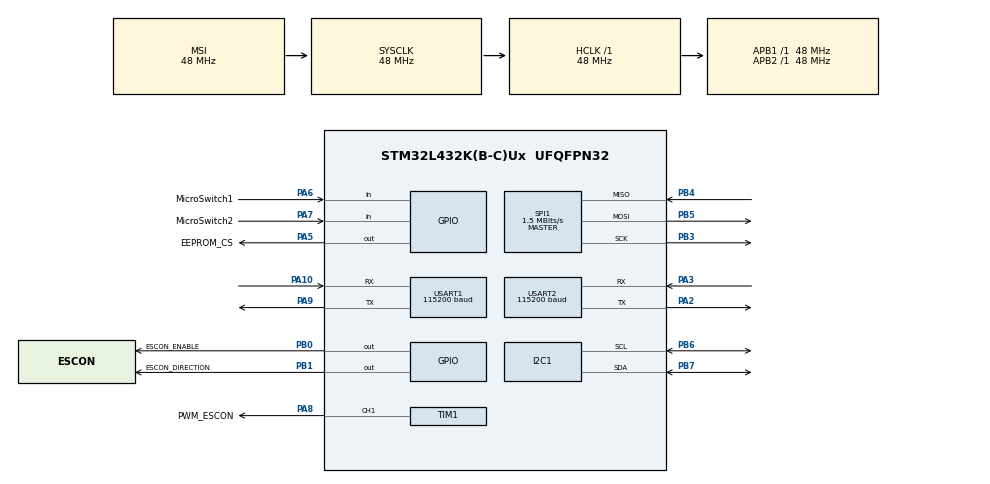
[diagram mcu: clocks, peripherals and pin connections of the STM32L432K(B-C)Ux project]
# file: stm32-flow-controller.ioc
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I2C1.Timing=0x10805D88
Mcu.Family=STM32L4
Mcu.Name=STM32L432K(B-C)Ux
Mcu.Package=UFQFPN32
NVIC.PriorityGroup=NVIC_PRIORITYGROUP_4
NVIC.TIM7_IRQn=true\:0\:0\:false\:false\:true\:true\:true\:true
NVIC.USART1_IRQn=true\:0\:0\:false\:false\:true\:true\:true\:true
NVIC.USART2_IRQn=true\:0\:0\:false\:false\:true\:true\:true\:true
PA10.Mode=Asynchronous
PA10.Signal=USART1_RX
PA2.Mode=Asynchronous
PA2.Signal=USART2_TX
PA3.Mode=Asynchronous
PA3.Signal=USART2_RX
PA5.GPIO_Label=EEPROM_CS
PA5.Signal=GPIO_Output
PA6.GPIO_Label=MicroSwitch1
PA6.GPIO_PuPd=GPIO_PULLDOWN
PA6.Signal=GPIO_Input
PA7.GPIO_Label=MicroSwitch2
PA7.GPIO_PuPd=GPIO_PULLDOWN
PA7.Signal=GPIO_Input
PA8.GPIO_Label=PWM_ESCON
PA8.Signal=S_TIM1_CH1
PA9.Mode=Asynchronous
PA9.Signal=USART1_TX
PB0.GPIO_Label=ESCON_ENABLE
PB0.Signal=GPIO_Output
PB1.GPIO_Label=ESCON_DIRECTION
PB1.Signal=GPIO_Output
PB3\ (JTDO-TRACESWO).Mode=Full_Duplex_Master
PB3\ (JTDO-TRACESWO).Signal=SPI1_SCK
PB4\ (NJTRST).Mode=Full_Duplex_Master
PB4\ (NJTRST).Signal=SPI1_MISO
PB5.Mode=Full_Duplex_Master
PB5.Signal=SPI1_MOSI
PB6.GPIO_Pu=GPIO_PULLUP
PB6.Mode=I2C
PB6.Signal=I2C1_SCL
PB7.GPIO_Pu=GPIO_PULLUP
PB7.Mode=I2C
PB7.Signal=I2C1_SDA
ProjectManager.HeapSize=0x200
ProjectManager.StackSize=0x400
ProjectManager.TargetToolchain=STM32CubeIDE
RCC.ADCFreq_Value=192000000
RCC.AHBFreq_Value=48000000
RCC.APB1Freq_Value=48000000
RCC.APB1TimFreq_Value=48000000
RCC.APB2Freq_Value=48000000
RCC.APB2TimFreq_Value=48000000
RCC.CortexFreq_Value=48000000
RCC.HCLKFreq_Value=48000000
RCC.HSE_VALUE=8000000
RCC.HSI16_VALUE=16000000
RCC.HSI48_VALUE=48000000
RCC.HSI_VALUE=16000000
RCC.LSE_VALUE=32768
RCC.MSIClockRange=RCC_MSIRANGE_11
RCC.MSI_VALUE=48000000
RCC.PLLMUL=RCC_PLLMUL_4
RCC.PLLN=16
RCC.SYSCLKFreq_VALUE=48000000
RCC.USBFreq_Value=192000000
RCC.VCOOutputFreq_Value=768000000
SH.S_TIM1_CH1.0=TIM1_CH1,PWM Generation1 CH1
SPI1.BaudRatePrescaler=SPI_BAUDRATEPRESCALER_32
SPI1.CalculateBaudRate=1.5 MBits/s
SPI1.DataSize=SPI_DATASIZE_8BIT
SPI1.Direction=SPI_DIRECTION_2LINES
SPI1.Mode=SPI_MODE_MASTER
SPI1.VirtualType=VM_MASTER
TIM1.Channel-PWM\ Generation1\ CH1=TIM_CHANNEL_1
TIM1.Period=99
TIM1.Prescaler=47
TIM7.Period=999
TIM7.Prescaler=47
USART1.BaudRate=115200
USART1.VirtualMode-Asynchronous=VM_ASYNC
USART2.BaudRate=115200
USART2.VirtualMode-Asynchronous=VM_ASYNC
VP_TIM7_VS_ClockSourceINT.Mode=Enable_Timer
board=NUCLEO-L432KC

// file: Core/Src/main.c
/* USER CODE BEGIN Header */
/**
  ******************************************************************************
  * @file           : main.c
  * @brief          : UART1 <-> UART2 Buffered String Bridge @ 9600 baud
  ******************************************************************************
  */
/* USER CODE END Header */
#include "main.h"

/* USER CODE BEGIN Includes */
#include "stdio.h"
#include "stdbool.h"
#include "string.h"
#include "stdlib.h"
/* USER CODE END Includes */

/* USER CODE BEGIN PD */
#define BUFFER_SIZE 64
/* ── Definizioni 25LC256 ───────────────────────────────────────── */
#define EEPROM_WREN   0x06   // Write Enable
#define EEPROM_WRDI   0x04   // Write Disable
#define EEPROM_RDSR   0x05   // Read Status Register
#define EEPROM_WRSR   0x01   // Write Status Register
#define EEPROM_READ   0x03   // Read Data
#define EEPROM_WRITE  0x02   // Write Data

#define EEPROM_PAGE_SIZE   64
#define EEPROM_TOTAL_SIZE  32768   // 32KB

#define SDP810_ADDR (0x25 << 1)

#define SFM3300_ADDR        (0x40 << 1)   // 7-bit address = 0x40
#define SFM3300_OFFSET      32768.0f      // from SFM3300-250 datasheet
#define SFM3300_SCALE       120.0f        // flow scale factor for -250 variant
/* USER CODE END PD */

I2C_HandleTypeDef hi2c1;

SPI_HandleTypeDef hspi1;

TIM_HandleTypeDef htim1;
TIM_HandleTypeDef htim7;

UART_HandleTypeDef huart1;
UART_HandleTypeDef huart2;

/* USER CODE BEGIN PV */

// Buffer di accumulo per le stringhe
char uart1_rx_buffer[BUFFER_SIZE];
char uart2_rx_buffer[BUFFER_SIZE];

// Buffer messaggi
char msg[BUFFER_SIZE];

// Buffer stato e parametri
int stato;
int parametri_int[4];
float parametri_float[4];

// Indici di scrittura per i buffer
volatile uint8_t uart1_idx = 0;
volatile uint8_t uart2_idx = 0;

// Flag di stringa pronta (identificata da \r o \n)
volatile bool uart1_str_ready = false;
volatile bool uart2_str_ready = false;

// Variabili di appoggio per la ricezione del singolo byte ad interrupt
uint8_t uart1_tmp_byte;
uint8_t uart2_tmp_byte;

// Variabile temporizzatore
bool temporizzatore;
bool temporizzatore_PID;
int divisore;

// Variabili controllo
bool read_SDP810;

/* USER CODE END PV */

void SystemClock_Config(void);
static void MX_GPIO_Init(void);
static void MX_USART1_UART_Init(void);
static void MX_USART2_UART_Init(void);
static void MX_TIM1_Init(void);
static void MX_TIM7_Init(void);
static void MX_SPI1_Init(void);
static void MX_I2C1_Init(void);

/* USER CODE BEGIN 0 */

/* ── Helper: CS ────────────────────────────────────────────────── */
static inline void CS_Low(void)  { HAL_GPIO_WritePin(GPIOA, GPIO_PIN_5, GPIO_PIN_RESET); }
static inline void CS_High(void) { HAL_GPIO_WritePin(GPIOA, GPIO_PIN_5, GPIO_PIN_SET);   }

/* ── Helper: attendi fine scrittura (polling WIP bit) ───────────── */
static void EEPROM_WaitReady(void)
{
    uint8_t cmd = EEPROM_RDSR;
    uint8_t status;
    do {
        CS_Low();
        HAL_SPI_Transmit(&hspi1, &cmd, 1, HAL_MAX_DELAY);
        HAL_SPI_Receive (&hspi1, &status, 1, HAL_MAX_DELAY);
        CS_High();
    } while (status & 0x01);   // WIP = bit 0
}

/* ── Helper: WREN prima di ogni scrittura ───────────────────────── */
static void EEPROM_WriteEnable(void)
{
    uint8_t cmd = EEPROM_WREN;
    CS_Low();
    HAL_SPI_Transmit(&hspi1, &cmd, 1, HAL_MAX_DELAY);
    CS_High();
}

/* ══════════════════════════════════════════════════════════════════
 *  write_EEPROM
 *  Cancella tutta la EEPROM (scrive 0xFF), poi scrive la stringa
 *  a partire dall'indirizzo 0x0000.
 * ══════════════════════════════════════════════════════════════════ */
void write_EEPROM(char *str)
{
    uint16_t addr;
    uint8_t  buf[3 + EEPROM_PAGE_SIZE];
    uint8_t  page[EEPROM_PAGE_SIZE];

    /* ── 1. Cancella tutta la EEPROM scrivendo 0xFF pagina per pagina ── */
    memset(page, 0xFF, EEPROM_PAGE_SIZE);

    for (addr = 0; addr < EEPROM_TOTAL_SIZE; addr += EEPROM_PAGE_SIZE)
    {
        EEPROM_WriteEnable();

        buf[0] = EEPROM_WRITE;
        buf[1] = (addr >> 8) & 0xFF;   // indirizzo HIGH
        buf[2] =  addr       & 0xFF;   // indirizzo LOW
        memcpy(&buf[3], page, EEPROM_PAGE_SIZE);

        CS_Low();
        HAL_SPI_Transmit(&hspi1, buf, 3 + EEPROM_PAGE_SIZE, HAL_MAX_DELAY);
        CS_High();

        EEPROM_WaitReady();
    }

    /* ── 2. Scrivi la stringa (incluso '\0') pagina per pagina ───────── */
    uint16_t len       = (uint16_t)strlen(str) + 1;   // +1 per il terminatore
    uint16_t bytes_left = len;
    uint16_t src_offset = 0;

    addr = 0x0000;

    while (bytes_left > 0)
    {
        /* quanti byte possiamo scrivere in questa pagina? */
        uint16_t chunk = EEPROM_PAGE_SIZE;
        if (chunk > bytes_left) chunk = bytes_left;

        EEPROM_WriteEnable();

        buf[0] = EEPROM_WRITE;
        buf[1] = (addr >> 8) & 0xFF;
        buf[2] =  addr       & 0xFF;
        memcpy(&buf[3], str + src_offset, chunk);

        CS_Low();
        HAL_SPI_Transmit(&hspi1, buf, 3 + chunk, HAL_MAX_DELAY);
        CS_High();

        EEPROM_WaitReady();

        addr       += chunk;
        src_offset += chunk;
        bytes_left -= chunk;
    }
}

/* ══════════════════════════════════════════════════════════════════
 *  read_EEPROM
 *  Legge l'intera EEPROM e restituisce un puntatore a un buffer
 *  statico contenente la stringa terminata in '\0'.
 *  Il buffer è valido fino alla prossima chiamata della funzione.
 * ══════════════════════════════════════════════════════════════════ */
char *read_EEPROM(void)
{
    static char result[EEPROM_TOTAL_SIZE];

    uint8_t cmd[3];
    cmd[0] = EEPROM_READ;
    cmd[1] = 0x00;   // indirizzo HIGH
    cmd[2] = 0x00;   // indirizzo LOW

    CS_Low();
    HAL_SPI_Transmit(&hspi1, cmd, 3, HAL_MAX_DELAY);
    HAL_SPI_Receive (&hspi1, (uint8_t *)result, EEPROM_TOTAL_SIZE, HAL_MAX_DELAY);
    CS_High();

    /* Assicura la terminazione nel caso in cui non ci sia '\0' */
    result[EEPROM_TOTAL_SIZE - 1] = '\0';

    return result;
}

void setMotor(float percent, bool direction, bool on)
{
    // 1. Clamp del valore tra 0.0 e 1.0
    if (percent <= 0.0f) {
    	stopMotor();
    	return;
    }
    if (percent > 1.0f) percent = 1.0f;

    // 2. Gestione PIN ENABLE (PB0)
    HAL_GPIO_WritePin(GPIOB, GPIO_PIN_0, on ? GPIO_PIN_SET : GPIO_PIN_RESET);

    // 3. Gestione PIN DIRECTION (PB1)
    HAL_GPIO_WritePin(GPIOB, GPIO_PIN_1, direction ? GPIO_PIN_SET : GPIO_PIN_RESET);

    // 4. Mappatura PWM 10% → 90%
    float duty = 0.1f + 0.8f * percent;

    // CORREZIONE: Moltiplica per 99.0f (Counter Period), non per 999.0f
    uint32_t ccr = (uint32_t)(duty * 99.0f);

    // 5. Aggiornamento del registro del Timer
    __HAL_TIM_SET_COMPARE(&htim1, TIM_CHANNEL_1, ccr);
}

void stopMotor(){
    HAL_GPIO_WritePin(GPIOB, GPIO_PIN_0, GPIO_PIN_RESET);
    HAL_GPIO_WritePin(GPIOB, GPIO_PIN_1, GPIO_PIN_RESET);
    __HAL_TIM_SET_COMPARE(&htim1, TIM_CHANNEL_1, 0);
}

void parser(){
	if(sscanf(uart1_rx_buffer,"Mode %d",&stato) == 1){

		switch (stato) {
		case 0:

			break;
		case 1:
			break;
		case 2:
			break;
		case 3:
			sscanf(uart1_rx_buffer,"Mode 3 %f %d",&parametri_float[0],&parametri_int[0]);
			if (parametri_int[0] == 1){
				setMotor(1,true,true);
			}
			else{
				setMotor(parametri_float[0]/1000,false,true);
			}
			break;
		case 512: //EEPROM WRITE
			sscanf(uart1_rx_buffer,"Mode 512 %s",msg);
			write_EEPROM(msg);
			break;
		case 513: //EEPROM READ
			char* letto = read_EEPROM();
			HAL_UART_Transmit(&huart1, (uint8_t*)letto, strlen(letto), 200);
			break;
		case 514: //SDP_READLOOP
			SFM3300_Start();
			read_SDP810 = true;
			break;
		case 515: //SDP_WRITE_LOOP
			read_SDP810 = false;
			SFM3300_Stop();
			break;
		case 516:
			I2C_Scan();
			break;
		default:
			break;

		}
	}
}

void SDP810_Start() {
    uint8_t cmd[2] = {0x36, 0x15};
    HAL_StatusTypeDef ret = HAL_I2C_Master_Transmit(&hi2c1, SDP810_ADDR, cmd, 2, 100);
    if (ret != HAL_OK) {
        HAL_UART_Transmit(&huart1, (uint8_t*)"Start FAILED\r\n", 14, 100);
        return;
    }
    HAL_Delay(50); // wait for first conversion to be ready (~45ms)
    HAL_UART_Transmit(&huart1, (uint8_t*)"Misurazione AVVIATA\r\n", 21, 100);
}

// Invia il comando per fermare le misurazioni
void SDP810_Stop() {
    uint8_t cmd[2] = {0x3F, 0xF9};
    HAL_I2C_Master_Transmit(&hi2c1, SDP810_ADDR, cmd, 2, 100);
    HAL_UART_Transmit(&huart1, (uint8_t*)"Misurazione FERMATA\r\n", 21, 100);
}

void SDP810_Read(){
	uint8_t data[9];
	          char out_buf[64];
	          // Richiede 9 byte di risposta dal sensore
	          if (HAL_I2C_Master_Receive(&hi2c1, SDP810_ADDR, data, 9, 100) == HAL_OK) {

	              int16_t dp_raw = (data[0] << 8) | data[1];
	              int16_t scale_factor = (data[6] << 8) | data[7];

	              if (scale_factor != 0) {
	                  float pressure = (float)dp_raw / (float)scale_factor;

	                  // Formatta la stringa (richiede l'abilitazione dei float nelle impostazioni STM32)

	                	  sprintf(out_buf, "SNSR %.2f 0 0\r\n", pressure);
	                  // Trasmetti su entrambe le porte
	                    HAL_UART_Transmit(&huart1, (uint8_t*)out_buf, strlen(out_buf), 100);

	              }
	          } else {
	              HAL_UART_Transmit(&huart1, (uint8_t*)"Errore Lettura\r\n", 16, 100);
	          }
}

/* ── CRC-8 check (poly 0x31) ────────────────────────────────────── */
static uint8_t SFM3300_CRC(uint8_t msb, uint8_t lsb)
{
    uint8_t crc = 0x00;
    uint8_t data[2] = {msb, lsb};
    for (int i = 0; i < 2; i++) {
        crc ^= data[i];
        for (int b = 0; b < 8; b++)
            crc = (crc & 0x80) ? (crc << 1) ^ 0x31 : (crc << 1);
    }
    return crc;
}

void SFM3300_Start(void)
{
    uint8_t cmd[2] = {0x10, 0x00};
    HAL_StatusTypeDef ret = HAL_I2C_Master_Transmit(&hi2c1, SFM3300_ADDR, cmd, 2, 100);
    if (ret != HAL_OK) {
        HAL_UART_Transmit(&huart1, (uint8_t*)"SFM3300 Start FAILED\r\n", 22, 100);
        return;
    }
    // Datasheet: wait 100ms after start before first valid read
    HAL_Delay(100);
    HAL_UART_Transmit(&huart1, (uint8_t*)"SFM3300 AVVIATO\r\n", 17, 100);
}

void SFM3300_Stop(void)
{
    // Sending any command other than 0x1000 stops measurement.
    // Soft reset (0x2000) is the cleanest way.
    uint8_t cmd[2] = {0x20, 0x00};
    HAL_I2C_Master_Transmit(&hi2c1, SFM3300_ADDR, cmd, 2, 100);
    HAL_UART_Transmit(&huart1, (uint8_t*)"SFM3300 FERMATO\r\n", 17, 100);
}

void SFM3300_Read(void)
{
    // Datasheet recommends re-sending 0x1000 before every read
    // to guard against unnoticed sensor resets
    uint8_t cmd[2] = {0x10, 0x00};
    if (HAL_I2C_Master_Transmit(&hi2c1, SFM3300_ADDR, cmd, 2, 100) != HAL_OK) {
        HAL_UART_Transmit(&huart1, (uint8_t*)"SFM3300 Cmd FAILED\r\n", 20, 100);
        return;
    }

    // Read 3 bytes: 2 data + 1 CRC
    uint8_t data[3];
    if (HAL_I2C_Master_Receive(&hi2c1, SFM3300_ADDR, data, 3, 100) != HAL_OK) {
        HAL_UART_Transmit(&huart1, (uint8_t*)"SFM3300 Read FAILED\r\n", 21, 100);
        return;
    }

    // Verify CRC
    if (SFM3300_CRC(data[0], data[1]) != data[2]) {
        HAL_UART_Transmit(&huart1, (uint8_t*)"SFM3300 CRC ERR\r\n", 17, 100);
        return;
    }

    // Convert raw value to slm
    int16_t raw = (int16_t)((data[0] << 8) | data[1]);
    float flow = ((float)raw - SFM3300_OFFSET) / SFM3300_SCALE;

    char out[64];
    sprintf(out, "SNSR %.2f 0 0\r\n", flow);
    HAL_UART_Transmit(&huart1, (uint8_t*)out, strlen(out), 100);
}

void I2C_Scan(void)
{
    // Only probe addresses you actually care about
    uint8_t known_addrs[] = {0x25, 0x40}; // SDP810, SFM3300
    char buf[32];

    for (int i = 0; i < sizeof(known_addrs); i++)
    {
        HAL_StatusTypeDef r = HAL_I2C_IsDeviceReady(
            &hi2c1, known_addrs[i] << 1, 1, 10);

        sprintf(buf, "0x%02X: %s\r\n",
            known_addrs[i], r == HAL_OK ? "OK" : "FAIL");
        HAL_UART_Transmit(&huart1, (uint8_t*)buf, strlen(buf), 100);

        // Reset peripheral between probes regardless
        HAL_I2C_DeInit(&hi2c1);
        HAL_I2C_Init(&hi2c1);
    }

    HAL_UART_Transmit(&huart1, (uint8_t*)"Scan done\r\n", 11, 100);
}

// FINE SEZIONE FUNZIONI

/* USER CODE END 0 */

int main(void)
{

  /* USER CODE BEGIN 1 */
	int test=0;
	divisore = 0;

  /* USER CODE END 1 */

  /* MCU Configuration--------------------------------------------------------*/

  /* Reset of all peripherals, Initializes the Flash interface and the Systick. */
  HAL_Init();

  /* Configure the system clock */
  SystemClock_Config();

  /* Initialize all configured peripherals */
  MX_GPIO_Init();
  MX_USART1_UART_Init();
  MX_USART2_UART_Init();
  MX_TIM1_Init();
  MX_TIM7_Init();
  MX_SPI1_Init();
  MX_I2C1_Init();
  /* USER CODE BEGIN 2 */

  HAL_TIM_PWM_Start(&htim1, TIM_CHANNEL_1);
  __HAL_TIM_MOE_ENABLE(&htim1);
  // Azzera preventivamente i buffer di ricezione
  memset(uart1_rx_buffer, 0, BUFFER_SIZE);
  memset(uart2_rx_buffer, 0, BUFFER_SIZE);
  memset(msg, 0, BUFFER_SIZE);

  // Attiva la ricezione del primo byte ad interrupt su entrambe le porte
  HAL_UART_Receive_IT(&huart1, &uart1_tmp_byte, 1);
  HAL_UART_Receive_IT(&huart2, &uart2_tmp_byte, 1);

  temporizzatore = false;
  read_SDP810 = false;
  HAL_TIM_Base_Start_IT(&htim7);
  CS_High();

  /* USER CODE END 2 */

  /* Infinite loop */
  while (1)
  {

    /* USER CODE BEGIN 3 */

    // 1. Se UART1 ha accumulato una stringa intera, la spedisce a UART2
    if (uart1_str_ready)
    {
      // Trasmissione bloccante della stringa intera accumulata
      HAL_UART_Transmit(&huart2, (uint8_t*)uart1_rx_buffer, strlen(uart1_rx_buffer), 200);

      // OPZIONALE: Se vuoi forzare l'invio a capo anche sulla destinazione rimuovi il commento sotto:
      // HAL_UART_Transmit(&huart2, (uint8_t*)"\r\n", 2, 10);

      /* Reset del buffer e ripristino delle condizioni di ascolto */
      parser();
      __disable_irq(); // Protezione da corruzioni se arriva un byte durante il reset
      memset(uart1_rx_buffer, 0, BUFFER_SIZE);
      uart1_idx = 0;
      uart1_str_ready = false;
      __enable_irq();
    }

    // 2. Se UART2 ha accumulato una stringa intera, la spedisce a UART1
    if (uart2_str_ready)
    {
      // Trasmissione bloccante della stringa intera accumulata
      HAL_UART_Transmit(&huart1, (uint8_t*)uart2_rx_buffer, strlen(uart2_rx_buffer), 200);

      // OPZIONALE: Se vuoi forzare l'invio a capo anche sulla destinazione rimuovi il commento sotto:
      // HAL_UART_Transmit(&huart1, (uint8_t*)"\r\n", 2, 10);

      /* Reset del buffer e ripristino delle condizioni di ascolto */
      __disable_irq(); // Protezione da corruzioni
      memset(uart2_rx_buffer, 0, BUFFER_SIZE);
      uart2_idx = 0;
      uart2_str_ready = false;
      __enable_irq();
    }

    // +-----------------------FINE PARTE MESSAGGI--------------------+

    if(temporizzatore){ //CODICE TEMPORIZZATO (1000Hz)
    	temporizzatore=false;
    	if(test%1000==0){
    		snprintf(msg,BUFFER_SIZE,"Tempo %d \n\r",test/1000);
        	HAL_UART_Transmit(&huart1, (uint8_t*)msg, strlen(msg), 200);
    	}
    	test++;
    }

    if(temporizzatore_PID){
    	temporizzatore_PID=false;
    	if(read_SDP810){
    		SFM3300_Read();
    	}
    }

  }
  /* USER CODE END 3 */
}

void SystemClock_Config(void)
{
  RCC_OscInitTypeDef RCC_OscInitStruct = {0};
  RCC_ClkInitTypeDef RCC_ClkInitStruct = {0};

  /** Configure the main internal regulator output voltage
  */
  if (HAL_PWREx_ControlVoltageScaling(PWR_REGULATOR_VOLTAGE_SCALE1) != HAL_OK)
  {
    Error_Handler();
  }

  /** Initializes the RCC Oscillators according to the specified parameters
  * in the RCC_OscInitTypeDef structure.
  */
  RCC_OscInitStruct.OscillatorType = RCC_OSCILLATORTYPE_MSI;
  RCC_OscInitStruct.MSIState = RCC_MSI_ON;
  RCC_OscInitStruct.MSICalibrationValue = 0;
  RCC_OscInitStruct.MSIClockRange = RCC_MSIRANGE_11;
  RCC_OscInitStruct.PLL.PLLState = RCC_PLL_NONE;
  if (HAL_RCC_OscConfig(&RCC_OscInitStruct) != HAL_OK)
  {
    Error_Handler();
  }

  /** Initializes the CPU, AHB and APB buses clocks
  */
  RCC_ClkInitStruct.ClockType = RCC_CLOCKTYPE_HCLK|RCC_CLOCKTYPE_SYSCLK
                              |RCC_CLOCKTYPE_PCLK1|RCC_CLOCKTYPE_PCLK2;
  RCC_ClkInitStruct.SYSCLKSource = RCC_SYSCLKSOURCE_MSI;
  RCC_ClkInitStruct.AHBCLKDivider = RCC_SYSCLK_DIV1;
  RCC_ClkInitStruct.APB1CLKDivider = RCC_HCLK_DIV1;
  RCC_ClkInitStruct.APB2CLKDivider = RCC_HCLK_DIV1;

  if (HAL_RCC_ClockConfig(&RCC_ClkInitStruct, FLASH_LATENCY_2) != HAL_OK)
  {
    Error_Handler();
  }
}

static void MX_I2C1_Init(void)
{

  hi2c1.Instance = I2C1;
  hi2c1.Init.Timing = 0x00C0EAFF;
  hi2c1.Init.OwnAddress1 = 0;
  hi2c1.Init.AddressingMode = I2C_ADDRESSINGMODE_7BIT;
  hi2c1.Init.DualAddressMode = I2C_DUALADDRESS_DISABLE;
  hi2c1.Init.OwnAddress2 = 0;
  hi2c1.Init.OwnAddress2Masks = I2C_OA2_NOMASK;
  hi2c1.Init.GeneralCallMode = I2C_GENERALCALL_DISABLE;
  hi2c1.Init.NoStretchMode = I2C_NOSTRETCH_DISABLE;
  if (HAL_I2C_Init(&hi2c1) != HAL_OK)
  {
    Error_Handler();
  }

  /** Configure Analogue filter
  */
  if (HAL_I2CEx_ConfigAnalogFilter(&hi2c1, I2C_ANALOGFILTER_ENABLE) != HAL_OK)
  {
    Error_Handler();
  }

  /** Configure Digital filter
  */
  if (HAL_I2CEx_ConfigDigitalFilter(&hi2c1, 0) != HAL_OK)
  {
    Error_Handler();
  }

}

static void MX_SPI1_Init(void)
{

  /* SPI1 parameter configuration*/
  hspi1.Instance = SPI1;
  hspi1.Init.Mode = SPI_MODE_MASTER;
  hspi1.Init.Direction = SPI_DIRECTION_2LINES;
  hspi1.Init.DataSize = SPI_DATASIZE_8BIT;
  hspi1.Init.CLKPolarity = SPI_POLARITY_LOW;
  hspi1.Init.CLKPhase = SPI_PHASE_1EDGE;
  hspi1.Init.NSS = SPI_NSS_SOFT;
  hspi1.Init.BaudRatePrescaler = SPI_BAUDRATEPRESCALER_32;
  hspi1.Init.FirstBit = SPI_FIRSTBIT_MSB;
  hspi1.Init.TIMode = SPI_TIMODE_DISABLE;
  hspi1.Init.CRCCalculation = SPI_CRCCALCULATION_DISABLE;
  hspi1.Init.CRCPolynomial = 7;
  hspi1.Init.CRCLength = SPI_CRC_LENGTH_DATASIZE;
  hspi1.Init.NSSPMode = SPI_NSS_PULSE_ENABLE;
  if (HAL_SPI_Init(&hspi1) != HAL_OK)
  {
    Error_Handler();
  }

}

static void MX_TIM1_Init(void)
{

  TIM_MasterConfigTypeDef sMasterConfig = {0};
  TIM_OC_InitTypeDef sConfigOC = {0};
  TIM_BreakDeadTimeConfigTypeDef sBreakDeadTimeConfig = {0};

  htim1.Instance = TIM1;
  htim1.Init.Prescaler = 47;
  htim1.Init.CounterMode = TIM_COUNTERMODE_UP;
  htim1.Init.Period = 99;
  htim1.Init.ClockDivision = TIM_CLOCKDIVISION_DIV1;
  htim1.Init.RepetitionCounter = 0;
  htim1.Init.AutoReloadPreload = TIM_AUTORELOAD_PRELOAD_DISABLE;
  if (HAL_TIM_PWM_Init(&htim1) != HAL_OK)
  {
    Error_Handler();
  }
  sMasterConfig.MasterOutputTrigger = TIM_TRGO_RESET;
  sMasterConfig.MasterOutputTrigger2 = TIM_TRGO2_RESET;
  sMasterConfig.MasterSlaveMode = TIM_MASTERSLAVEMODE_DISABLE;
  if (HAL_TIMEx_MasterConfigSynchronization(&htim1, &sMasterConfig) != HAL_OK)
  {
    Error_Handler();
  }
  sConfigOC.OCMode = TIM_OCMODE_PWM1;
  sConfigOC.Pulse = 0;
  sConfigOC.OCPolarity = TIM_OCPOLARITY_HIGH;
  sConfigOC.OCNPolarity = TIM_OCNPOLARITY_HIGH;
  sConfigOC.OCFastMode = TIM_OCFAST_DISABLE;
  sConfigOC.OCIdleState = TIM_OCIDLESTATE_RESET;
  sConfigOC.OCNIdleState = TIM_OCNIDLESTATE_RESET;
  if (HAL_TIM_PWM_ConfigChannel(&htim1, &sConfigOC, TIM_CHANNEL_1) != HAL_OK)
  {
    Error_Handler();
  }
  sBreakDeadTimeConfig.OffStateRunMode = TIM_OSSR_DISABLE;
  sBreakDeadTimeConfig.OffStateIDLEMode = TIM_OSSI_DISABLE;
  sBreakDeadTimeConfig.LockLevel = TIM_LOCKLEVEL_OFF;
  sBreakDeadTimeConfig.DeadTime = 0;
  sBreakDeadTimeConfig.BreakState = TIM_BREAK_DISABLE;
  sBreakDeadTimeConfig.BreakPolarity = TIM_BREAKPOLARITY_HIGH;
  sBreakDeadTimeConfig.BreakFilter = 0;
  sBreakDeadTimeConfig.Break2State = TIM_BREAK2_DISABLE;
  sBreakDeadTimeConfig.Break2Polarity = TIM_BREAK2POLARITY_HIGH;
  sBreakDeadTimeConfig.Break2Filter = 0;
  sBreakDeadTimeConfig.AutomaticOutput = TIM_AUTOMATICOUTPUT_DISABLE;
  if (HAL_TIMEx_ConfigBreakDeadTime(&htim1, &sBreakDeadTimeConfig) != HAL_OK)
  {
    Error_Handler();
  }
  HAL_TIM_MspPostInit(&htim1);

}

static void MX_TIM7_Init(void)
{

  TIM_MasterConfigTypeDef sMasterConfig = {0};

  htim7.Instance = TIM7;
  htim7.Init.Prescaler = 47;
  htim7.Init.CounterMode = TIM_COUNTERMODE_UP;
  htim7.Init.Period = 999;
  htim7.Init.AutoReloadPreload = TIM_AUTORELOAD_PRELOAD_DISABLE;
  if (HAL_TIM_Base_Init(&htim7) != HAL_OK)
  {
    Error_Handler();
  }
  sMasterConfig.MasterOutputTrigger = TIM_TRGO_RESET;
  sMasterConfig.MasterSlaveMode = TIM_MASTERSLAVEMODE_DISABLE;
  if (HAL_TIMEx_MasterConfigSynchronization(&htim7, &sMasterConfig) != HAL_OK)
  {
    Error_Handler();
  }

}

static void MX_USART1_UART_Init(void)
{

  huart1.Instance = USART1;
  huart1.Init.BaudRate = 115200;
  huart1.Init.WordLength = UART_WORDLENGTH_8B;
  huart1.Init.StopBits = UART_STOPBITS_1;
  huart1.Init.Parity = UART_PARITY_NONE;
  huart1.Init.Mode = UART_MODE_TX_RX;
  huart1.Init.HwFlowCtl = UART_HWCONTROL_NONE;
  huart1.Init.OverSampling = UART_OVERSAMPLING_16;
  huart1.Init.OneBitSampling = UART_ONE_BIT_SAMPLE_DISABLE;
  huart1.AdvancedInit.AdvFeatureInit = UART_ADVFEATURE_NO_INIT;
  if (HAL_UART_Init(&huart1) != HAL_OK)
  {
    Error_Handler();
  }

}

static void MX_USART2_UART_Init(void)
{

  huart2.Instance = USART2;
  huart2.Init.BaudRate = 115200;
  huart2.Init.WordLength = UART_WORDLENGTH_8B;
  huart2.Init.StopBits = UART_STOPBITS_1;
  huart2.Init.Parity = UART_PARITY_NONE;
  huart2.Init.Mode = UART_MODE_TX_RX;
  huart2.Init.HwFlowCtl = UART_HWCONTROL_NONE;
  huart2.Init.OverSampling = UART_OVERSAMPLING_16;
  huart2.Init.OneBitSampling = UART_ONE_BIT_SAMPLE_DISABLE;
  huart2.AdvancedInit.AdvFeatureInit = UART_ADVFEATURE_NO_INIT;
  if (HAL_UART_Init(&huart2) != HAL_OK)
  {
    Error_Handler();
  }

}

static void MX_GPIO_Init(void)
{
  GPIO_InitTypeDef GPIO_InitStruct = {0};

  /* GPIO Ports Clock Enable */
  __HAL_RCC_GPIOA_CLK_ENABLE();
  __HAL_RCC_GPIOB_CLK_ENABLE();

  /*Configure GPIO pin Output Level */
  HAL_GPIO_WritePin(EEPROM_CS_GPIO_Port, EEPROM_CS_Pin, GPIO_PIN_RESET);

  /*Configure GPIO pin Output Level */
  HAL_GPIO_WritePin(GPIOB, ESCON_ENABLE_Pin|ESCON_DIRECTION_Pin, GPIO_PIN_RESET);

  /*Configure GPIO pin : EEPROM_CS_Pin */
  GPIO_InitStruct.Pin = EEPROM_CS_Pin;
  GPIO_InitStruct.Mode = GPIO_MODE_OUTPUT_PP;
  GPIO_InitStruct.Pull = GPIO_NOPULL;
  GPIO_InitStruct.Speed = GPIO_SPEED_FREQ_LOW;
  HAL_GPIO_Init(EEPROM_CS_GPIO_Port, &GPIO_InitStruct);

  /*Configure GPIO pins : MicroSwitch1_Pin MicroSwitch2_Pin */
  GPIO_InitStruct.Pin = MicroSwitch1_Pin|MicroSwitch2_Pin;
  GPIO_InitStruct.Mode = GPIO_MODE_INPUT;
  GPIO_InitStruct.Pull = GPIO_PULLDOWN;
  HAL_GPIO_Init(GPIOA, &GPIO_InitStruct);

  /*Configure GPIO pins : ESCON_ENABLE_Pin ESCON_DIRECTION_Pin */
  GPIO_InitStruct.Pin = ESCON_ENABLE_Pin|ESCON_DIRECTION_Pin;
  GPIO_InitStruct.Mode = GPIO_MODE_OUTPUT_PP;
  GPIO_InitStruct.Pull = GPIO_NOPULL;
  GPIO_InitStruct.Speed = GPIO_SPEED_FREQ_LOW;
  HAL_GPIO_Init(GPIOB, &GPIO_InitStruct);

}

/* USER CODE BEGIN 4 */
void HAL_UART_RxCpltCallback(UART_HandleTypeDef *huart)
{
	//HAL_GPIO_WritePin(GPIOB, GPIO_PIN_3, GPIO_PIN_SET);
  if (huart->Instance == USART1)
  {
    // Se la stringa precedente non è ancora stata elaborata nel main, scartiamo i nuovi dati per sicurezza
    if (!uart1_str_ready)
    {
      // Controllo delimitatori di fine riga (\n o \r)
      if (uart1_tmp_byte == '\n' || uart1_tmp_byte == '\r')
      {
        // Taglia la stringa solo se contiene effettivamente qualcosa
        if (uart1_idx > 0)
        {
          uart1_rx_buffer[uart1_idx] = '\0'; // Chiude la stringa in modo sicuro
          uart1_str_ready = true;            // Sveglia il controllo nel main loop
        }
      }
      else
      {
        // Accumula il carattere nel buffer evitando l'overflow
        if (uart1_idx < (BUFFER_SIZE - 1))
        {
          uart1_rx_buffer[uart1_idx++] = (char)uart1_tmp_byte;
        }
      }
    }
    // Riarma istantaneamente l'interrupt per il byte successivo
    HAL_UART_Receive_IT(&huart1, &uart1_tmp_byte, 1);
  }
  else if (huart->Instance == USART2)
  {
    // Se la stringa precedente non è ancora stata elaborata nel main, scartiamo i nuovi dati
    if (!uart2_str_ready)
    {
      // Controllo delimitatori di fine riga (\n o \r)
      if (uart2_tmp_byte == '\n' || uart2_tmp_byte == '\r')
      {
        if (uart2_idx > 0)
        {
          uart2_rx_buffer[uart2_idx] = '\0'; // Chiude la stringa
          uart2_str_ready = true;            // Sveglia il controllo nel main loop
        }
      }
      else
      {
        // Accumula il carattere nel buffer evitando l'overflow
        if (uart2_idx < (BUFFER_SIZE - 1))
        {
          uart2_rx_buffer[uart2_idx++] = (char)uart2_tmp_byte;
        }
      }
    }
    // Riarma istantaneamente l'interrupt per il byte successivo
    HAL_UART_Receive_IT(&huart2, &uart2_tmp_byte, 1);
  }
  //HAL_GPIO_WritePin(GPIOB, GPIO_PIN_3, GPIO_PIN_RESET);
}

/**
  * @brief Gestione degli errori hardware della UART (Overrun, Noise, Frame Error)
  */
void HAL_UART_ErrorCallback(UART_HandleTypeDef *huart)
{
  if (huart->Instance == USART1)
  {
    HAL_UART_Receive_IT(&huart1, &uart1_tmp_byte, 1);
  }
  else if (huart->Instance == USART2)
  {
    HAL_UART_Receive_IT(&huart2, &uart2_tmp_byte, 1);
  }
}

//INTERRUPT TIMER 7 TEMPORIZZATORE
void HAL_TIM_PeriodElapsedCallback(TIM_HandleTypeDef *htim)
{
    if (htim->Instance == TIM7)
    {
    	temporizzatore = true;
    	divisore++;
    	if (divisore==10) { //100Hz
    		temporizzatore_PID = true;
    		divisore = 0;
    	}
    	//HAL_TIM_Base_Start_IT(&htim7);
        // codice eseguito ogni 1 ms
    }
}
//INTERRUPT MICROSWITCH
void HAL_GPIO_EXTI_Callback(uint16_t GPIO_Pin)
{
    // Controlliamo se l'interrupt è stato generato dal pin 3 (PB3) o dal pin 8 (PA8)
    if(GPIO_Pin == GPIO_PIN_6 || GPIO_Pin == GPIO_PIN_7)
    {
        // Ferma immediatamente il motore
        stopMotor();

        // Opzionale: invia un messaggio di notifica (usiamo un timeout bassissimo
        // per non bloccare troppo a lungo l'esecuzione dentro l'interrupt)
        char msg_stop[] = "EMERGENZA: Microswitch premuto. Motore fermato!\r\n";
        HAL_UART_Transmit(&huart1, (uint8_t*)msg_stop, strlen(msg_stop), 10);
    }
}

/* USER CODE END 4 */

void Error_Handler(void)
{
  __disable_irq();
  while (1)
  {
  }
}
